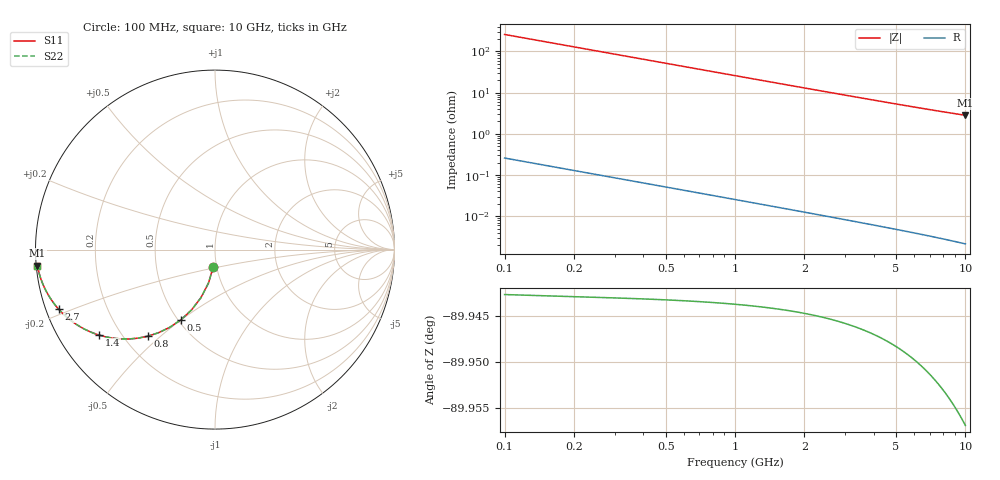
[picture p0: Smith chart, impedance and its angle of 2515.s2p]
# Hz S RI R 50.00
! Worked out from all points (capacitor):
!   100 points, 100 MHz to 10 GHz, reference 50 ohm
!   read as one part in shunt: C = 6.16 pF near 100 MHz
!   lowest |Z| = 2.82 ohm at 10 GHz (marker M1)
!   S11 on the Smith chart (normalised r, x): 100 MHz: 0.96, -0.19; 500 MHz: 0.52, -0.50; 800 MHz: 0.30, -0.45; 1.4 GHz: 0.12, -0.32; 2.7 GHz: 0.04, -0.18; 10 GHz: 0.00, -0.04
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1e8  -0.00935 -0.0957  0.9906 -0.0959  0.9906 -0.0959  -0.00935 -0.0957
2e8  -0.0362 -0.1862  0.9637 -0.1867  0.9637 -0.1867  -0.0362 -0.1862
3e8  -0.0779 -0.2672  0.9221 -0.2679  0.9221 -0.2679  -0.0779 -0.2672
4e8  -0.1305 -0.3359  0.8695 -0.3368  0.8695 -0.3368  -0.1305 -0.3359
5e8  -0.1898 -0.3911  0.8102 -0.3922  0.8102 -0.3922  -0.1898 -0.3911
6e8  -0.2521 -0.4331  0.7478 -0.4344  0.7478 -0.4344  -0.2521 -0.4331
7e8  -0.3144 -0.463  0.6856 -0.4645  0.6856 -0.4645  -0.3144 -0.463
8e8  -0.3745 -0.4826  0.6255 -0.4843  0.6255 -0.4843  -0.3745 -0.4826
9e8  -0.4309 -0.4938  0.569 -0.4957  0.569 -0.4957  -0.4309 -0.4938
1.1e9  -0.5306 -0.4974  0.4694 -0.4997  0.4694 -0.4997  -0.5306 -0.4974
1.2e9  -0.5735 -0.4928  0.4265 -0.4953  0.4265 -0.4953  -0.5735 -0.4928
1.4e9  -0.6464 -0.4761  0.3535 -0.4791  0.3535 -0.4791  -0.6464 -0.4761
1.6e9  -0.7047 -0.454  0.2953 -0.4574  0.2953 -0.4574  -0.7047 -0.454
1.8e9  -0.7511 -0.4299  0.2488 -0.4338  0.2488 -0.4338  -0.7511 -0.4299
2.2e9  -0.8183 -0.3827  0.1817 -0.3874  0.1817 -0.3874  -0.8183 -0.3827
2.7e9  -0.8714 -0.3314  0.1286 -0.3372  0.1286 -0.3372  -0.8714 -0.3314
3.4e9  -0.9147 -0.275  0.0852 -0.2824  0.0852 -0.2824  -0.9147 -0.275
4.2e9  -0.9424 -0.2278  0.0575 -0.2369  0.0575 -0.2369  -0.9424 -0.2278
5.1e9  -0.9602 -0.1891  0.0396 -0.2003  0.0396 -0.2003  -0.9602 -0.1891
6.7e9  -0.9767 -0.1427  0.0232 -0.1576  0.0232 -0.1576  -0.9767 -0.1427
8.4e9  -0.9851 -0.1105  0.0146 -0.1294  0.0146 -0.1294  -0.9851 -0.1105
1e10  -0.9896 -0.0888  0.0101 -0.1117  0.0101 -0.1117  -0.9896 -0.0888
